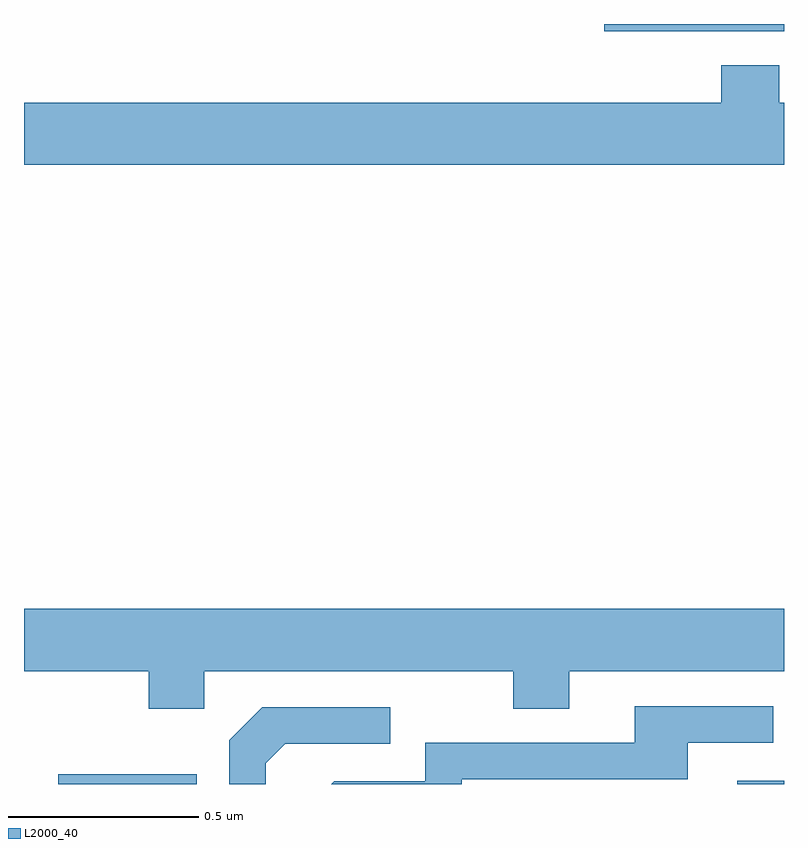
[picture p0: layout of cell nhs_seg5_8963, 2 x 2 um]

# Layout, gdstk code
import gdstk
lib = gdstk.Library(unit=1e-6, precision=1e-09)
def R(c, l, rs):  # rectangles x0, y0, x1, y1
    for r in rs: c.add(gdstk.rectangle(r[:2], r[2:], *l))
def P(c, l, *ps):  # polygons
    for p in ps: c.add(gdstk.Polygon(p, *l))
L2000_40 = (2000, 40)

nhs_seg5_8963 = lib.new_cell('nhs_seg5_8963')
R(nhs_seg5_8963, L2000_40, [(228.09,853.799,228.455,853.825), (229.877,853.799,230,853.807), (229.527,855.78,230,855.799)])
P(nhs_seg5_8963, L2000_40, [(229.835,855.691),(229.835,855.592),(228,855.592),(228,855.428),(230,855.428),(230,855.592),(229.987,855.592),(229.987,855.691)],
  [(228.474,854.096),(229.288,854.096),(229.288,853.997),(229.435,853.997),(229.435,854.096),(230,854.096),(230,854.26),(228,854.26),(228,854.096),(228.328,854.096),(228.328,853.997),(228.474,853.997)],
  [(229.152,853.812),(229.747,853.812),(229.747,853.908),(229.972,853.908),(229.972,854.004),(229.607,854.004),(229.607,853.908),(229.056,853.908),(229.056,853.806),(228.816,853.806),(228.809,853.799),(229.152,853.799)],
  [(228.636,853.854),(228.687,853.905),(228.964,853.905),(228.964,854.001),(228.627,854.001),(228.54,853.914),(228.54,853.799),(228.636,853.799)])

lib.write_gds('nhs_seg5_8963.gds')
